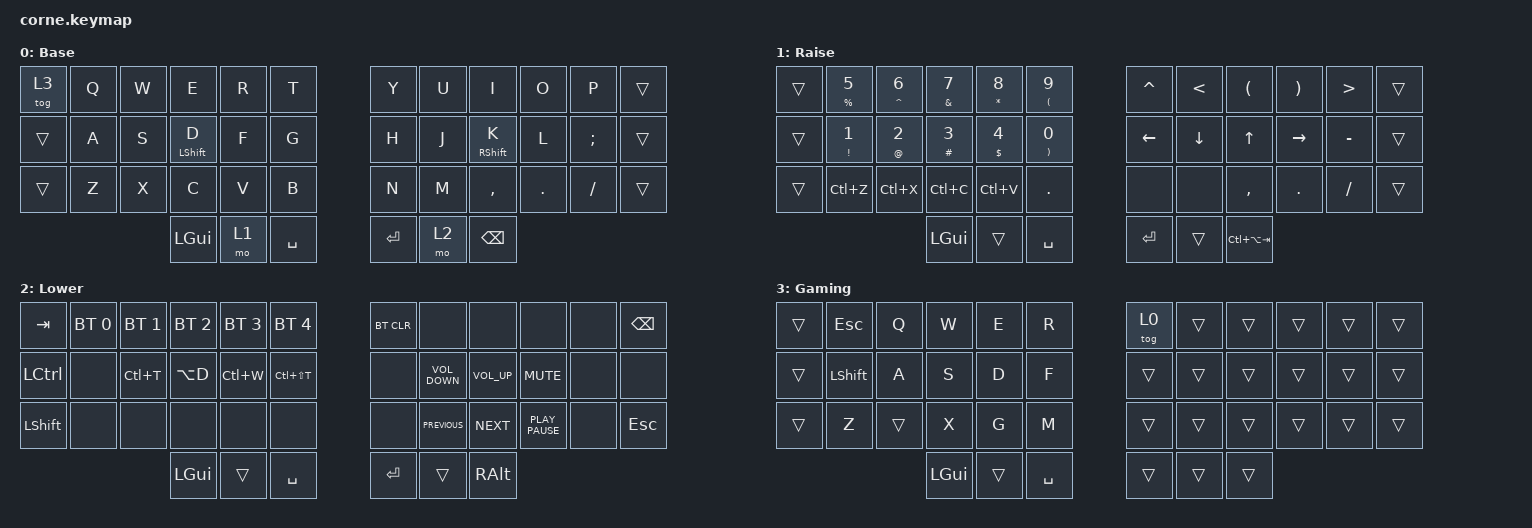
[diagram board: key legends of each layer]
/*
 * Copyright (c) 2020 The ZMK Contributors
 *
 * SPDX-License-Identifier: MIT
 */

#include <behaviors.dtsi>
#include <dt-bindings/zmk/bt.h>
#include <dt-bindings/zmk/keys.h>

/ {
    behaviors {
        htap: htap {
            compatible = "zmk,behavior-hold-tap";
            label = "HTAP";
            #binding-cells = <2>;
            flavor = "balanced";
            tapping-term-ms = <200>;
            quick-tap-ms = <175>;
            hold-trigger-key-positions = <0 1 1 2 3 4 5 13 14 15 16 17 25 26 27 28 29 36 38 12 24 39 40 41 37>;
            bindings = <&kp>, <&kp>;

            require-prior-idle-ms = <(-1)>;
            hold-trigger-on-release;
        };
    };

    keymap {
        compatible = "zmk,keymap";

        Canary_Matrix_layer {
            // -----------------------------------------------------------------------------------------
            // |  TAB |  Q  |  W  |  E  |  R  |  T  |   |  Y  |  U   |  I  |  O  |  P  | BKSP |
            // | CTRL |  A  |  S  |  D  |  F  |  G  |   |  H  |  J   |  K  |  L  |  ;  |  '   |
            // | SHFT |  Z  |  X  |  C  |  V  |  B  |   |  N  |  M   |  ,  |  .  |  /  | ESC  |
            //                    | GUI | LWR | SPC |   | ENT | RSE  | ALT |

            display-name = "Base";
            bindings = <
&tog 3  &kp Q  &kp W  &kp E        &kp R  &kp T        &kp Y    &kp U  &kp I          &kp O    &kp P          &trans
&trans  &kp A  &kp S  &mt LSHFT D  &kp F  &kp G        &kp H    &kp J  &mt RSHFT K    &kp L    &kp SEMICOLON  &trans
&trans  &kp Z  &kp X  &kp C        &kp V  &kp B        &kp N    &kp M  &kp COMMA      &kp DOT  &kp FSLH       &trans
                      &kp LGUI     &mo 1  &kp SPACE    &kp RET  &mo 2  &kp BACKSPACE
            >;
        };

        NumPad_layer {
            // -----------------------------------------------------------------------------------------
            // |  TAB |  !  |  @  |  #  |  $  |  %  |   |  ^  |  &  |  *  |  (  |  )  | BKSP |
            // | CTRL |     |     |     |     |     |   |  -  |  =  |  [  |  ]  |  \  |  `   |
            // | SHFT |     |     |     |     |     |   |  _  |  +  |  {  |  }  | "|" |  ~   |
            //                    | GUI |     | SPC |   | ENT |     | ALT |

            display-name = "Raise";
            bindings = <
&trans  &htap PERCENT N5            &htap CARET NUMBER_6    &htap AMPERSAND N7   &htap ASTERISK N8      &htap LEFT_PARENTHESIS N9     &kp CARET  &kp LESS_THAN  &kp LEFT_PARENTHESIS  &kp RIGHT_PARENTHESIS  &kp GREATER_THAN  &trans
&trans  &htap EXCLAMATION NUMBER_1  &htap AT_SIGN NUMBER_2  &htap HASH NUMBER_3  &htap DOLLAR NUMBER_4  &htap RIGHT_PARENTHESIS N0    &kp LEFT   &kp DOWN       &kp UP_ARROW          &kp RIGHT              &kp MINUS         &trans
&trans  &kp LC(Z)                   &kp LC(X)               &kp LC(C)            &kp LC(V)              &kp PERIOD                    &none      &none          &kp COMMA             &kp PERIOD             &kp SLASH         &trans
                                                            &kp LGUI             &trans                 &kp SPACE                     &kp RET    &trans         &kp LC(LA(TAB))
            >;
        };

        BT-Media_layer {
            // -----------------------------------------------------------------------------------------
            // |  TAB |  1  |  2  |  3  |  4  |  5  |   |  6  |  7  |  8  |  9  |  0  | BKSP |
            // | BTCLR| BT1 | BT2 | BT3 | BT4 | BT5 |   | LFT | DWN |  UP | RGT |     |      |
            // | SHFT |     |     |     |     |     |   |     |     |     |     |     |      |
            //                    | GUI |     | SPC |   | ENT |     | ALT |

            display-name = "Lower";
            bindings = <
&kp TAB           &bt BT_SEL 0  &bt BT_SEL 1  &bt BT_SEL 2  &bt BT_SEL 3  &bt BT_SEL 4     &bt BT_CLR  &none              &none            &none             &none  &kp BSPC
&kp LEFT_CONTROL  &none         &kp LC(T)     &kp LA(D)     &kp LC(W)     &kp LC(LS(T))    &none       &kp C_VOLUME_DOWN  &kp C_VOLUME_UP  &kp C_MUTE        &none  &none
&kp LSHFT         &none         &none         &none         &none         &none            &none       &kp K_PREVIOUS     &kp K_NEXT       &kp K_PLAY_PAUSE  &none  &kp ESCAPE
                                              &kp LGUI      &trans        &kp SPACE        &kp RET     &trans             &kp RALT
            >;
        };

        Gaming {
            bindings = <
&trans  &kp ESC    &kp Q   &kp W     &kp E   &kp R        &tog 0  &trans  &trans  &trans  &trans  &trans
&trans  &kp LSHFT  &kp A   &kp S     &kp D   &kp F        &trans  &trans  &trans  &trans  &trans  &trans
&trans  &kp Z      &trans  &kp X     &kp G   &kp M        &trans  &trans  &trans  &trans  &trans  &trans
                           &kp LGUI  &trans  &kp SPACE    &trans  &trans  &trans
            >;
        };
    };
};
